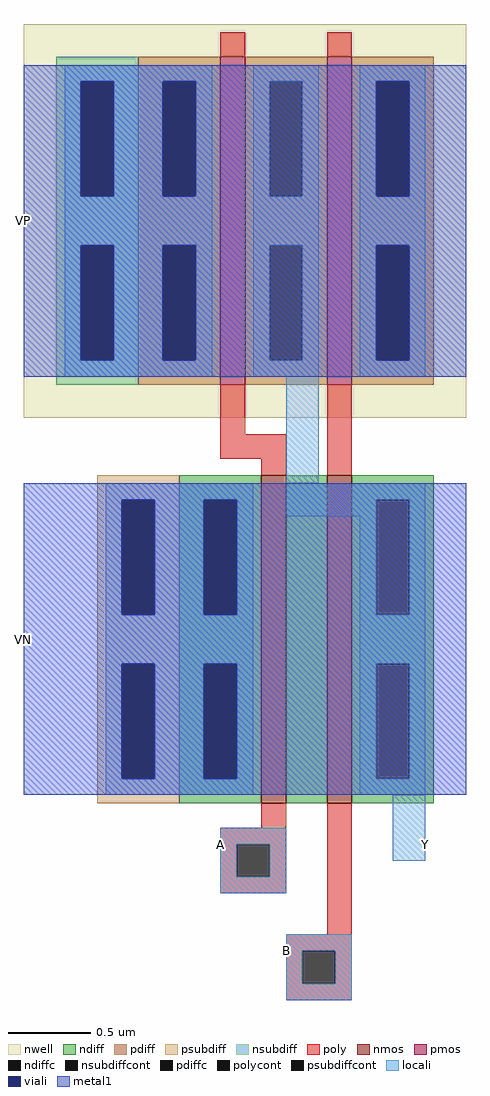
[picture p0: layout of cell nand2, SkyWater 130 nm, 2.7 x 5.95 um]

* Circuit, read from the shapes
.subckt nand2 A B Y VP VN
XM1 n1 A VN VN sky130_fd_pr__nfet_01v8 w=2 l=0.15
XM2 Y B n1 VN sky130_fd_pr__nfet_01v8 w=2 l=0.15
XM3 Y A VP VP sky130_fd_pr__pfet_01v8 w=2 l=0.15
XM4 VP B Y VP sky130_fd_pr__pfet_01v8 w=2 l=0.15
.ends

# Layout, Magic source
magic
tech sky130A
<< nwell >>
rect -120 295 150 535
<< nmos >>
rect 25 60 40 260
rect 65 60 80 260
<< pmos >>
rect 0 315 15 515
rect 65 315 80 515
<< ndiff >>
rect -25 245 25 260
rect -25 175 -10 245
rect 10 175 25 245
rect -25 145 25 175
rect -25 75 -10 145
rect 10 75 25 145
rect -25 60 25 75
rect 40 60 65 260
rect 80 245 130 260
rect 80 175 95 245
rect 115 175 130 245
rect 80 145 130 175
rect 80 75 95 145
rect 115 75 130 145
rect 80 60 130 75
<< pdiff >>
rect -50 500 0 515
rect -50 430 -35 500
rect -15 430 0 500
rect -50 400 0 430
rect -50 330 -35 400
rect -15 330 0 400
rect -50 315 0 330
rect 15 500 65 515
rect 15 430 30 500
rect 50 430 65 500
rect 15 400 65 430
rect 15 330 30 400
rect 50 330 65 400
rect 15 315 65 330
rect 80 500 130 515
rect 80 430 95 500
rect 115 430 130 500
rect 80 400 130 430
rect 80 330 95 400
rect 115 330 130 400
rect 80 315 130 330
<< ndiffc >>
rect -10 175 10 245
rect -10 75 10 145
rect 95 175 115 245
rect 95 75 115 145
<< pdiffc >>
rect -35 430 -15 500
rect -35 330 -15 400
rect 30 430 50 500
rect 30 330 50 400
rect 95 430 115 500
rect 95 330 115 400
<< psubdiff >>
rect -75 245 -25 260
rect -75 175 -60 245
rect -40 175 -25 245
rect -75 145 -25 175
rect -75 75 -60 145
rect -40 75 -25 145
rect -75 60 -25 75
<< nsubdiff >>
rect -100 500 -50 515
rect -100 430 -85 500
rect -65 430 -50 500
rect -100 400 -50 430
rect -100 330 -85 400
rect -65 330 -50 400
rect -100 315 -50 330
<< psubdiffcont >>
rect -60 175 -40 245
rect -60 75 -40 145
<< nsubdiffcont >>
rect -85 430 -65 500
rect -85 330 -65 400
<< poly >>
rect 0 515 15 530
rect 65 515 80 530
rect 0 285 15 315
rect 0 270 40 285
rect 25 260 40 270
rect 65 260 80 315
rect 25 45 40 60
rect 0 35 40 45
rect 0 15 10 35
rect 30 15 40 35
rect 0 5 40 15
rect 65 -20 80 60
rect 40 -30 80 -20
rect 40 -50 50 -30
rect 70 -50 80 -30
rect 40 -60 80 -50
<< polycont >>
rect 10 15 30 35
rect 50 -50 70 -30
<< locali >>
rect -95 500 -5 510
rect -95 430 -85 500
rect -65 430 -35 500
rect -15 430 -5 500
rect -95 400 -5 430
rect -95 330 -85 400
rect -65 330 -35 400
rect -15 330 -5 400
rect -95 320 -5 330
rect 20 500 60 510
rect 20 430 30 500
rect 50 430 60 500
rect 20 400 60 430
rect 20 330 30 400
rect 50 330 60 400
rect 20 320 60 330
rect 85 500 125 510
rect 85 430 95 500
rect 115 430 125 500
rect 85 400 125 430
rect 85 330 95 400
rect 115 330 125 400
rect 85 320 125 330
rect 40 255 60 320
rect -70 245 20 255
rect -70 175 -60 245
rect -40 175 -10 245
rect 10 175 20 245
rect 40 245 125 255
rect 40 235 95 245
rect -70 145 20 175
rect -70 75 -60 145
rect -40 75 -10 145
rect 10 75 20 145
rect -70 65 20 75
rect 85 175 95 235
rect 115 175 125 245
rect 85 145 125 175
rect 85 75 95 145
rect 115 75 125 145
rect 85 65 125 75
rect 0 35 40 45
rect 0 15 10 35
rect 30 15 40 35
rect 105 25 125 65
rect 0 5 40 15
rect 40 -30 80 -20
rect 40 -50 50 -30
rect 70 -50 80 -30
rect 40 -60 80 -50
<< viali >>
rect -85 430 -65 500
rect -35 430 -15 500
rect -85 330 -65 400
rect -35 330 -15 400
rect 95 430 115 500
rect 95 330 115 400
rect -60 175 -40 245
rect -10 175 10 245
rect -60 75 -40 145
rect -10 75 10 145
<< metal1 >>
rect -120 500 150 510
rect -120 430 -85 500
rect -65 430 -35 500
rect -15 430 95 500
rect 115 430 150 500
rect -120 400 150 430
rect -120 330 -85 400
rect -65 330 -35 400
rect -15 330 95 400
rect 115 330 150 400
rect -120 320 150 330
rect -120 245 150 255
rect -120 175 -60 245
rect -40 175 -10 245
rect 10 175 150 245
rect -120 145 150 175
rect -120 75 -60 145
rect -40 75 -10 145
rect 10 75 150 145
rect -120 65 150 75
<< labels >>
rlabel metal1 -120 160 -120 160 7 VN
port 5 w
rlabel metal1 -120 415 -120 415 7 VP
port 4 w
rlabel locali 0 35 0 35 7 A
port 1 w
rlabel locali 125 35 125 35 3 Y
port 3 e
rlabel locali 40 -30 40 -30 7 B
port 2 w
<< end >>
